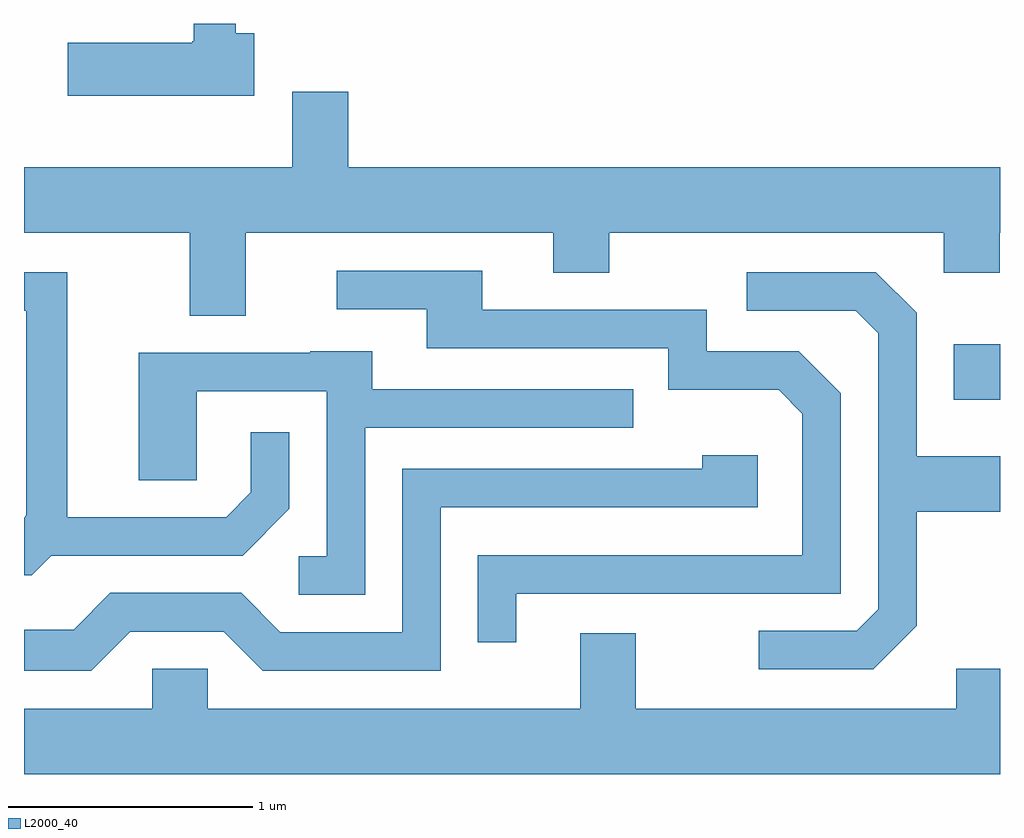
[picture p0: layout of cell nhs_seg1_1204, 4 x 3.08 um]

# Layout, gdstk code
import gdstk
lib = gdstk.Library(unit=1e-6, precision=1e-09)
def R(c, l, rs):  # rectangles x0, y0, x1, y1
    for r in rs: c.add(gdstk.rectangle(r[:2], r[2:], *l))
def P(c, l, *ps):  # polygons
    for p in ps: c.add(gdstk.Polygon(p, *l))
L2000_40 = (2000, 40)

nhs_seg1_1204 = lib.new_cell('nhs_seg1_1204')
R(nhs_seg1_1204, L2000_40, [(225.421,952.171,225.611,952.399)])
P(nhs_seg1_1204, L2000_40, [(222.554,953.674),(222.479,953.674),(222.479,953.712),(222.306,953.712),(222.306,953.64),(222.3,953.64),(222.3,953.634),(221.791,953.634),(221.791,953.416),(222.554,953.416)],
  [(222.519,952.856),(223.781,952.856),(223.781,952.691),(224.009,952.691),(224.009,952.856),(225.381,952.856),(225.381,952.691),(225.609,952.691),(225.609,952.856),(225.611,952.856),(225.611,953.124),(222.939,953.124),(222.939,953.434),(222.711,953.434),(222.711,953.124),(221.611,953.124),(221.611,952.856),(222.291,952.856),(222.291,952.516),(222.519,952.516)],
  [(223.629,951.376),(224.959,951.376),(224.959,952.197),(224.787,952.369),(224.409,952.369),(224.409,952.539),(223.489,952.539),(223.489,952.699),(222.893,952.699),(222.893,952.541),(223.261,952.541),(223.261,952.381),(224.251,952.381),(224.251,952.211),(224.704,952.211),(224.801,952.114),(224.801,951.534),(223.471,951.534),(223.471,951.178),(223.629,951.178)],
  [(221.722,951.531),(222.507,951.531),(222.699,951.724),(222.699,952.038),(222.541,952.038),(222.541,951.792),(222.439,951.689),(221.789,951.689),(221.789,952.694),(221.611,952.694),(221.611,952.536),(221.621,952.536),(221.621,951.697),(221.611,951.687),(221.611,951.451),(221.642,951.451)],
  [(225.269,951.244),(225.269,951.711),(225.611,951.711),(225.611,951.939),(225.269,951.939),(225.269,952.527),(225.102,952.694),(224.573,952.694),(224.573,952.536),(225.019,952.536),(225.111,952.444),(225.111,951.312),(225.024,951.224),(224.623,951.224),(224.623,951.066),(225.092,951.066)],
  [(223.009,952.056),(224.108,952.056),(224.108,952.214),(223.039,952.214),(223.039,952.369),(222.785,952.369),(222.785,952.364),(222.081,952.364),(222.081,951.841),(222.319,951.841),(222.319,952.206),(222.851,952.206),(222.851,951.529),(222.738,951.529),(222.738,951.371),(223.009,951.371)],
  [(222.047,951.221),(222.429,951.221),(222.589,951.061),(223.319,951.061),(223.319,951.731),(224.619,951.731),(224.619,951.944),(224.391,951.944),(224.391,951.889),(223.161,951.889),(223.161,951.219),(222.662,951.219),(222.502,951.379),(221.964,951.379),(221.814,951.229),(221.611,951.229),(221.611,951.061),(221.887,951.061)],
  [(225.611,951.069),(225.431,951.069),(225.431,950.904),(224.119,950.904),(224.119,951.214),(223.891,951.214),(223.891,950.904),(222.364,950.904),(222.364,951.069),(222.136,951.069),(222.136,950.904),(221.611,950.904),(221.611,950.636),(225.611,950.636)])

lib.write_gds('nhs_seg1_1204.gds')
